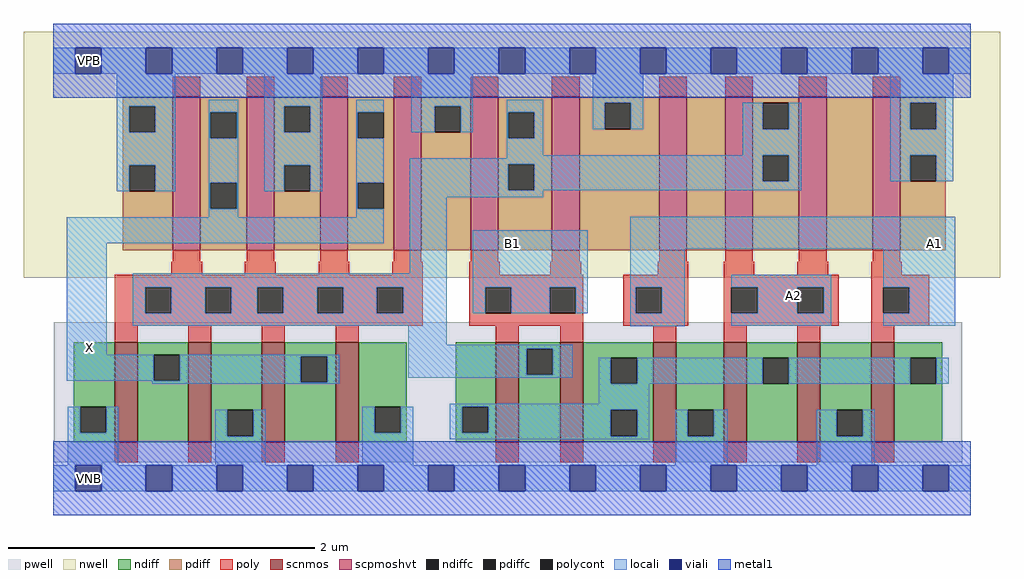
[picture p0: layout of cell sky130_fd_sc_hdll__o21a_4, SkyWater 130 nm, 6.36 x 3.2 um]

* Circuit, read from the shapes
.subckt sky130_fd_sc_hdll__o21a_4 A1 A2 B1 VGND VNB VPB VPWR X
XM1 X n1 VGND VNB sky130_fd_pr__nfet_01v8 w=0.65 l=0.15 m=4
XM2 n1 B1 n2 VNB sky130_fd_pr__nfet_01v8 w=0.65 l=0.15 m=2
XM3 VGND A1 n2 VNB sky130_fd_pr__nfet_01v8 w=0.65 l=0.15 m=2
XM4 n2 A2 VGND VNB sky130_fd_pr__nfet_01v8 w=0.65 l=0.15 m=2
XM5 X n1 VPWR VPB sky130_fd_pr__pfet_01v8_hvt w=1 l=0.18 m=4
XM6 n1 B1 VPWR VPB sky130_fd_pr__pfet_01v8_hvt w=1 l=0.18 m=2
XM7 n3 A1 VPWR VPB sky130_fd_pr__pfet_01v8_hvt w=1 l=0.18
XM8 n1 A2 n3 VPB sky130_fd_pr__pfet_01v8_hvt w=1 l=0.18
XM9 n4 A2 n1 VPB sky130_fd_pr__pfet_01v8_hvt w=1 l=0.18
XM10 VPWR A1 n4 VPB sky130_fd_pr__pfet_01v8_hvt w=1 l=0.18
.ends

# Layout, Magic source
magic
tech sky130A
magscale 1 2
<< nwell >>
rect -38 261 1234 582
<< pwell >>
rect 1 21 1185 203
rect 30 -17 64 21
<< scnmos >>
rect 80 47 110 177
rect 176 47 206 177
rect 272 47 302 177
rect 368 47 398 177
rect 577 47 607 177
rect 661 47 691 177
rect 782 47 812 177
rect 874 47 904 177
rect 970 47 1000 177
rect 1066 47 1096 177
<< scpmoshvt >>
rect 156 297 192 497
rect 252 297 288 497
rect 348 297 384 497
rect 444 297 480 497
rect 544 297 580 497
rect 650 297 686 497
rect 790 297 826 497
rect 876 297 912 497
rect 972 297 1008 497
rect 1068 297 1104 497
<< ndiff >>
rect 27 93 80 177
rect 27 59 35 93
rect 69 59 80 93
rect 27 47 80 59
rect 110 161 176 177
rect 110 127 131 161
rect 165 127 176 161
rect 110 47 176 127
rect 206 89 272 177
rect 206 55 227 89
rect 261 55 272 89
rect 206 47 272 55
rect 302 159 368 177
rect 302 125 323 159
rect 357 125 368 159
rect 302 47 368 125
rect 398 93 461 177
rect 398 59 419 93
rect 453 59 461 93
rect 398 47 461 59
rect 525 93 577 177
rect 525 59 533 93
rect 567 59 577 93
rect 525 47 577 59
rect 607 169 661 177
rect 607 135 617 169
rect 651 135 661 169
rect 607 47 661 135
rect 691 157 782 177
rect 691 123 727 157
rect 761 123 782 157
rect 691 89 782 123
rect 691 55 727 89
rect 761 55 782 89
rect 691 47 782 55
rect 812 89 874 177
rect 812 55 827 89
rect 861 55 874 89
rect 812 47 874 55
rect 904 157 970 177
rect 904 123 925 157
rect 959 123 970 157
rect 904 47 970 123
rect 1000 89 1066 177
rect 1000 55 1021 89
rect 1055 55 1066 89
rect 1000 47 1066 55
rect 1096 157 1159 177
rect 1096 123 1117 157
rect 1151 123 1159 157
rect 1096 47 1159 123
<< pdiff >>
rect 91 485 156 497
rect 91 451 99 485
rect 133 451 156 485
rect 91 408 156 451
rect 91 374 99 408
rect 133 374 156 408
rect 91 297 156 374
rect 192 477 252 497
rect 192 443 205 477
rect 239 443 252 477
rect 192 385 252 443
rect 192 351 205 385
rect 239 351 252 385
rect 192 297 252 351
rect 288 485 348 497
rect 288 451 301 485
rect 335 451 348 485
rect 288 408 348 451
rect 288 374 301 408
rect 335 374 348 408
rect 288 297 348 374
rect 384 477 444 497
rect 384 443 397 477
rect 431 443 444 477
rect 384 385 444 443
rect 384 351 397 385
rect 431 351 444 385
rect 384 297 444 351
rect 480 485 544 497
rect 480 451 497 485
rect 531 451 544 485
rect 480 297 544 451
rect 580 477 650 497
rect 580 443 593 477
rect 627 443 650 477
rect 580 409 650 443
rect 580 375 593 409
rect 627 375 650 409
rect 580 297 650 375
rect 686 489 790 497
rect 686 455 719 489
rect 753 455 790 489
rect 686 297 790 455
rect 826 297 876 497
rect 912 489 972 497
rect 912 455 925 489
rect 959 455 972 489
rect 912 421 972 455
rect 912 387 925 421
rect 959 387 972 421
rect 912 297 972 387
rect 1008 297 1068 497
rect 1104 489 1163 497
rect 1104 455 1117 489
rect 1151 455 1163 489
rect 1104 421 1163 455
rect 1104 387 1117 421
rect 1151 387 1163 421
rect 1104 297 1163 387
<< ndiffc >>
rect 35 59 69 93
rect 131 127 165 161
rect 227 55 261 89
rect 323 125 357 159
rect 419 59 453 93
rect 533 59 567 93
rect 617 135 651 169
rect 727 123 761 157
rect 727 55 761 89
rect 827 55 861 89
rect 925 123 959 157
rect 1021 55 1055 89
rect 1117 123 1151 157
<< pdiffc >>
rect 99 451 133 485
rect 99 374 133 408
rect 205 443 239 477
rect 205 351 239 385
rect 301 451 335 485
rect 301 374 335 408
rect 397 443 431 477
rect 397 351 431 385
rect 497 451 531 485
rect 593 443 627 477
rect 593 375 627 409
rect 719 455 753 489
rect 925 455 959 489
rect 925 387 959 421
rect 1117 455 1151 489
rect 1117 387 1151 421
<< poly >>
rect 156 497 192 523
rect 252 497 288 523
rect 348 497 384 523
rect 444 497 480 523
rect 544 497 580 523
rect 650 497 686 523
rect 790 497 826 523
rect 876 497 912 523
rect 972 497 1008 523
rect 1068 497 1104 523
rect 156 282 192 297
rect 252 282 288 297
rect 348 282 384 297
rect 444 282 480 297
rect 544 282 580 297
rect 650 282 686 297
rect 790 282 826 297
rect 876 282 912 297
rect 972 282 1008 297
rect 1068 282 1104 297
rect 154 265 194 282
rect 250 265 290 282
rect 346 265 386 282
rect 442 265 482 282
rect 80 249 482 265
rect 80 215 120 249
rect 154 215 198 249
rect 232 215 266 249
rect 300 215 344 249
rect 378 215 422 249
rect 456 215 482 249
rect 80 199 482 215
rect 542 265 582 282
rect 648 265 688 282
rect 788 265 828 282
rect 542 249 691 265
rect 542 215 563 249
rect 597 215 647 249
rect 681 215 691 249
rect 542 199 691 215
rect 743 249 828 265
rect 743 215 759 249
rect 793 215 828 249
rect 743 199 828 215
rect 874 265 914 282
rect 970 265 1010 282
rect 1066 265 1106 282
rect 874 249 1024 265
rect 874 215 884 249
rect 918 215 970 249
rect 1004 215 1024 249
rect 874 199 1024 215
rect 1066 249 1142 265
rect 1066 215 1082 249
rect 1116 215 1142 249
rect 1066 199 1142 215
rect 80 177 110 199
rect 176 177 206 199
rect 272 177 302 199
rect 368 177 398 199
rect 577 177 607 199
rect 661 177 691 199
rect 782 177 812 199
rect 874 177 904 199
rect 970 177 1000 199
rect 1066 177 1096 199
rect 80 21 110 47
rect 176 21 206 47
rect 272 21 302 47
rect 368 21 398 47
rect 577 21 607 47
rect 661 21 691 47
rect 782 21 812 47
rect 874 21 904 47
rect 970 21 1000 47
rect 1066 21 1096 47
<< polycont >>
rect 120 215 154 249
rect 198 215 232 249
rect 266 215 300 249
rect 344 215 378 249
rect 422 215 456 249
rect 563 215 597 249
rect 647 215 681 249
rect 759 215 793 249
rect 884 215 918 249
rect 970 215 1004 249
rect 1082 215 1116 249
<< locali >>
rect 0 527 29 561
rect 63 527 121 561
rect 155 527 213 561
rect 247 527 305 561
rect 339 527 397 561
rect 431 527 489 561
rect 523 527 581 561
rect 615 527 673 561
rect 707 527 765 561
rect 799 527 857 561
rect 891 527 949 561
rect 983 527 1041 561
rect 1075 527 1133 561
rect 1167 527 1196 561
rect 83 485 159 527
rect 83 451 99 485
rect 133 451 159 485
rect 83 408 159 451
rect 83 374 99 408
rect 133 374 159 408
rect 203 477 241 493
rect 203 443 205 477
rect 239 443 241 477
rect 203 385 241 443
rect 203 351 205 385
rect 239 351 241 385
rect 275 485 351 527
rect 275 451 301 485
rect 335 451 351 485
rect 275 408 351 451
rect 275 374 301 408
rect 335 374 351 408
rect 395 477 431 493
rect 395 443 397 477
rect 467 485 547 527
rect 467 451 497 485
rect 531 451 547 485
rect 591 477 639 493
rect 395 385 431 443
rect 591 443 593 477
rect 627 443 639 477
rect 703 489 769 527
rect 1091 489 1173 527
rect 703 455 719 489
rect 753 455 769 489
rect 899 455 925 489
rect 959 455 975 489
rect 591 421 639 443
rect 899 421 975 455
rect 591 417 925 421
rect 203 340 241 351
rect 395 351 397 385
rect 395 340 431 351
rect 18 306 431 340
rect 465 409 925 417
rect 465 375 593 409
rect 627 387 925 409
rect 959 387 975 421
rect 1091 455 1117 489
rect 1151 455 1173 489
rect 1091 421 1173 455
rect 1091 387 1117 421
rect 1151 387 1173 421
rect 627 375 975 387
rect 465 366 639 375
rect 18 161 70 306
rect 465 267 513 366
rect 104 249 513 267
rect 104 215 120 249
rect 154 215 198 249
rect 232 215 266 249
rect 300 215 344 249
rect 378 215 422 249
rect 456 215 513 249
rect 547 249 697 323
rect 547 215 563 249
rect 597 215 647 249
rect 681 215 697 249
rect 752 299 1176 341
rect 752 249 823 299
rect 752 215 759 249
rect 793 215 823 249
rect 104 199 513 215
rect 463 174 513 199
rect 752 198 823 215
rect 884 249 1014 265
rect 918 215 970 249
rect 1004 215 1014 249
rect 884 199 1014 215
rect 1082 249 1176 299
rect 1116 215 1176 249
rect 1082 199 1176 215
rect 463 169 677 174
rect 18 127 131 161
rect 165 159 373 161
rect 165 127 323 159
rect 129 125 323 127
rect 357 125 373 159
rect 463 135 617 169
rect 651 135 677 169
rect 463 131 677 135
rect 129 123 373 125
rect 711 123 727 157
rect 761 123 925 157
rect 959 123 1117 157
rect 1151 123 1167 157
rect 711 97 777 123
rect 517 93 777 97
rect 19 59 35 93
rect 69 59 85 93
rect 19 17 85 59
rect 211 55 227 89
rect 261 55 277 89
rect 211 17 277 55
rect 403 59 419 93
rect 453 59 469 93
rect 403 17 469 59
rect 517 59 533 93
rect 567 89 777 93
rect 567 59 727 89
rect 517 55 727 59
rect 761 55 777 89
rect 517 51 777 55
rect 811 55 827 89
rect 861 55 879 89
rect 811 17 879 55
rect 995 55 1021 89
rect 1055 55 1071 89
rect 995 17 1071 55
rect 0 -17 29 17
rect 63 -17 121 17
rect 155 -17 213 17
rect 247 -17 305 17
rect 339 -17 397 17
rect 431 -17 489 17
rect 523 -17 581 17
rect 615 -17 673 17
rect 707 -17 765 17
rect 799 -17 857 17
rect 891 -17 949 17
rect 983 -17 1041 17
rect 1075 -17 1133 17
rect 1167 -17 1196 17
<< viali >>
rect 29 527 63 561
rect 121 527 155 561
rect 213 527 247 561
rect 305 527 339 561
rect 397 527 431 561
rect 489 527 523 561
rect 581 527 615 561
rect 673 527 707 561
rect 765 527 799 561
rect 857 527 891 561
rect 949 527 983 561
rect 1041 527 1075 561
rect 1133 527 1167 561
rect 29 -17 63 17
rect 121 -17 155 17
rect 213 -17 247 17
rect 305 -17 339 17
rect 397 -17 431 17
rect 489 -17 523 17
rect 581 -17 615 17
rect 673 -17 707 17
rect 765 -17 799 17
rect 857 -17 891 17
rect 949 -17 983 17
rect 1041 -17 1075 17
rect 1133 -17 1167 17
<< metal1 >>
rect 0 561 1196 592
rect 0 527 29 561
rect 63 527 121 561
rect 155 527 213 561
rect 247 527 305 561
rect 339 527 397 561
rect 431 527 489 561
rect 523 527 581 561
rect 615 527 673 561
rect 707 527 765 561
rect 799 527 857 561
rect 891 527 949 561
rect 983 527 1041 561
rect 1075 527 1133 561
rect 1167 527 1196 561
rect 0 496 1196 527
rect 0 17 1196 48
rect 0 -17 29 17
rect 63 -17 121 17
rect 155 -17 213 17
rect 247 -17 305 17
rect 339 -17 397 17
rect 431 -17 489 17
rect 523 -17 581 17
rect 615 -17 673 17
rect 707 -17 765 17
rect 799 -17 857 17
rect 891 -17 949 17
rect 983 -17 1041 17
rect 1075 -17 1133 17
rect 1167 -17 1196 17
rect 0 -48 1196 -17
<< labels >>
flabel locali s 1132 289 1166 323 0 FreeSans 340 0 0 0 A1
port 1 nsew signal input
flabel locali s 948 221 982 255 0 FreeSans 340 0 0 0 A2
port 2 nsew signal input
flabel locali s 581 289 615 323 0 FreeSans 340 0 0 0 B1
port 3 nsew signal input
flabel locali s 30 153 64 187 0 FreeSans 340 0 0 0 X
port 8 nsew signal output
flabel pwell s 30 -17 64 17 0 FreeSans 200 0 0 0 VNB
port 5 nsew ground bidirectional
flabel nwell s 30 527 64 561 0 FreeSans 200 0 0 0 VPB
port 6 nsew power bidirectional
flabel metal1 s 30 527 64 561 0 FreeSans 200 0 0 0 VPWR
port 7 nsew power bidirectional
flabel metal1 s 30 -17 64 17 0 FreeSans 200 0 0 0 VGND
port 4 nsew ground bidirectional
rlabel comment s 0 0 0 0 4 o21a_4
<< properties >>
string LEFsite unithd
string LEFclass CORE
string FIXED_BBOX 0 0 1196 544
string GDS_FILE $PDKPATH/libs.ref/sky130_fd_sc_hdll/gds/sky130_fd_sc_hdll.gds
string LEFsymmetry X Y R90
string GDS_END 934886
string GDS_START 926546
string LEFproperties maskLayoutSubType "abstract" prCellType "standard" originalViewName "layout"
<< end >>
